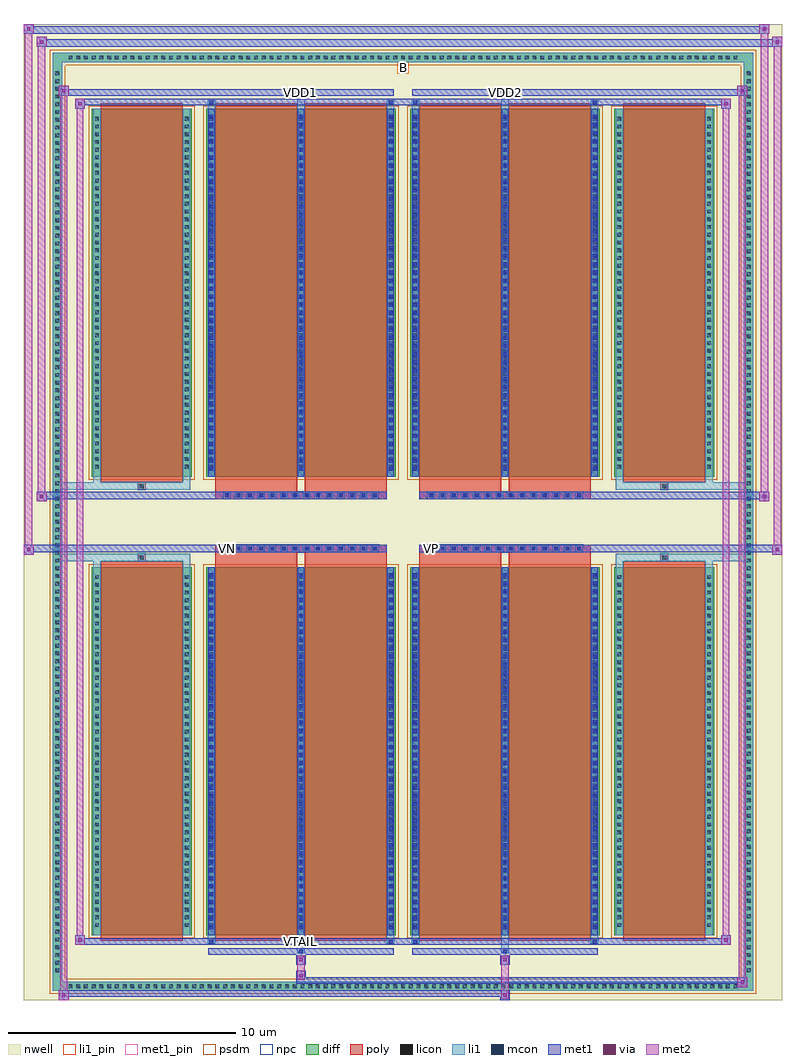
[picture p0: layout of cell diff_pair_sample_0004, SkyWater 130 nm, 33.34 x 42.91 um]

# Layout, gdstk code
import gdstk
lib = gdstk.Library(unit=1e-6, precision=5e-09)
def R(c, l, rs):  # rectangles x0, y0, x1, y1
    for r in rs: c.add(gdstk.rectangle(r[:2], r[2:], *l))
def A(c, l, x, y, w, h, nx, ny, dx, dy):  # array of equal rectangles
    R(c, l, [(x+i*dx, y+j*dy, x+i*dx+w, y+j*dy+h) for i in range(nx) for j in range(ny)])
def P(c, l, *ps):  # polygons
    for p in ps: c.add(gdstk.Polygon(p, *l))
nwell = (64, 20)
diff = (65, 20)
poly = (66, 20)
licon = (66, 44)
li1_pin = (67, 16)
li1 = (67, 20)
mcon = (67, 44)
met1_pin = (68, 16)
met1 = (68, 20)
via = (68, 44)
met2 = (69, 20)
psdm = (94, 20)
npc = (95, 20)

diff_pair_sample_0004 = lib.new_cell('diff_pair_sample_0004')
R(diff_pair_sample_0004, nwell, [(-16.67,-21.02,16.67,21.89), (-13.99,-19.21,-0.01,-0.805), (0.01,-19.21,13.99,-0.805), (-13.99,0.805,-0.01,19.21), (0.01,0.805,13.99,19.21)])
A(diff_pair_sample_0004, diff, -14.825, -20.62, 0.41, 0.41, 87, 2, 0.34, 40.83)
A(diff_pair_sample_0004, diff, -15.4, -19.925, 0.41, 0.41, 1, 117, 0, 0.34)
A(diff_pair_sample_0004, diff, 14.99, -19.925, 0.41, 0.41, 1, 117, 0, 0.34)
R(diff_pair_sample_0004, diff, [(-14.825,-20.62,14.825,-20.21), (-15.4,-19.925,-14.99,19.925), (14.99,-19.925,15.4,19.925), (-13.68,-18.165,-9.29,-1.985), (-8.65,-18.165,-0.32,-1.985), (0.32,-18.165,8.65,-1.985), (9.29,-18.165,13.68,-1.985), (-13.68,1.985,-9.29,18.165), (-8.65,1.985,-0.32,18.165), (0.32,1.985,8.65,18.165), (9.29,1.985,13.68,18.165), (-14.825,20.21,14.825,20.62)])
P(diff_pair_sample_0004, diff, [(15.4,20.62),(-15.4,20.62),(-15.4,-20.21),(-14.99,-20.21),(-14.99,20.21),(14.99,20.21),(14.99,-20.21),(-14.99,-20.21),(-15.4,-20.21),(-15.4,-20.62),(15.4,-20.62)])
A(diff_pair_sample_0004, poly, -7.9, -1.335, 0.33, 0.33, 14, 2, 0.5, 2.34)
A(diff_pair_sample_0004, poly, 1.07, -1.335, 0.33, 0.33, 14, 2, 0.5, 2.34)
R(diff_pair_sample_0004, poly, [(-13.29,-18.415,-9.68,-1.735), (-8.26,-18.415,-4.65,-1.735), (-4.32,-18.415,-0.71,-1.735), (0.71,-18.415,4.32,-1.735), (4.65,-18.415,8.26,-1.735), (9.68,-18.415,13.29,-1.735), (-11.65,-1.735,-11.32,-1.405), (-11.65,-1.735,-11.32,-1.405), (-8.26,-1.735,-4.65,-1.335), (-4.32,-1.735,-0.71,-1.335), (0.71,-1.735,4.32,-1.335), (4.65,-1.735,8.26,-1.335), (11.32,-1.735,11.65,-1.405), (11.32,-1.735,11.65,-1.405), (-8.26,-1.335,-0.71,-1.005), (0.71,-1.335,8.26,-1.005), (-8.26,1.005,-0.71,1.335), (0.71,1.005,8.26,1.335), (-8.26,1.335,-4.65,1.735), (-4.32,1.335,-0.71,1.735), (0.71,1.335,4.32,1.735), (4.65,1.335,8.26,1.735), (-11.65,1.405,-11.32,1.735), (-11.65,1.405,-11.32,1.735), (11.32,1.405,11.65,1.735), (11.32,1.405,11.65,1.735), (-13.29,1.735,-9.68,18.415), (-8.26,1.735,-4.65,18.415), (-4.32,1.735,-0.71,18.415), (0.71,1.735,4.32,18.415), (4.65,1.735,8.26,18.415), (9.68,1.735,13.29,18.415)])
A(diff_pair_sample_0004, licon, -14.705, -20.5, 0.17, 0.17, 87, 2, 0.34, 40.83)
A(diff_pair_sample_0004, licon, -15.28, -19.805, 0.17, 0.17, 1, 117, 0, 0.34)
A(diff_pair_sample_0004, licon, 15.11, -19.805, 0.17, 0.17, 1, 117, 0, 0.34)
A(diff_pair_sample_0004, licon, -13.54, -17.81, 0.17, 0.17, 1, 46, 0, 0.34)
A(diff_pair_sample_0004, licon, -9.6, -17.81, 0.17, 0.17, 1, 46, 0, 0.34)
A(diff_pair_sample_0004, licon, -8.51, -17.81, 0.17, 0.17, 3, 46, 3.94, 0.34)
A(diff_pair_sample_0004, licon, 0.46, -17.81, 0.17, 0.17, 3, 46, 3.94, 0.34)
A(diff_pair_sample_0004, licon, 9.43, -17.81, 0.17, 0.17, 1, 46, 0, 0.34)
A(diff_pair_sample_0004, licon, 13.37, -17.81, 0.17, 0.17, 1, 46, 0, 0.34)
A(diff_pair_sample_0004, licon, -7.82, -1.255, 0.17, 0.17, 14, 2, 0.5, 2.34)
A(diff_pair_sample_0004, licon, 1.15, -1.255, 0.17, 0.17, 14, 2, 0.5, 2.34)
A(diff_pair_sample_0004, licon, -13.54, 2.34, 0.17, 0.17, 1, 46, 0, 0.34)
A(diff_pair_sample_0004, licon, -9.6, 2.34, 0.17, 0.17, 1, 46, 0, 0.34)
A(diff_pair_sample_0004, licon, -8.51, 2.34, 0.17, 0.17, 3, 46, 3.94, 0.34)
A(diff_pair_sample_0004, licon, 0.46, 2.34, 0.17, 0.17, 3, 46, 3.94, 0.34)
A(diff_pair_sample_0004, licon, 9.43, 2.34, 0.17, 0.17, 1, 46, 0, 0.34)
A(diff_pair_sample_0004, licon, 13.37, 2.34, 0.17, 0.17, 1, 46, 0, 0.34)
R(diff_pair_sample_0004, licon, [(-11.57,-1.655,-11.4,-1.485), (11.4,-1.655,11.57,-1.485), (-11.57,1.485,-11.4,1.655), (11.4,1.485,11.57,1.655)])
R(diff_pair_sample_0004, li1_pin, [(-0.25,19.71,0.25,20.21)])
A(diff_pair_sample_0004, li1, -14.785, -20.58, 0.33, 0.33, 87, 2, 0.34, 40.83)
A(diff_pair_sample_0004, li1, -15.36, -19.885, 0.33, 0.33, 1, 117, 0, 0.34)
A(diff_pair_sample_0004, li1, 15.03, -19.885, 0.33, 0.33, 1, 117, 0, 0.34)
A(diff_pair_sample_0004, li1, -8.59, -18.165, 0.33, 16.18, 3, 2, 3.94, 20.15)
A(diff_pair_sample_0004, li1, 0.38, -18.165, 0.33, 16.18, 3, 2, 3.94, 20.15)
A(diff_pair_sample_0004, li1, -8.51, -17.9, 0.17, 0.17, 3, 44, 3.94, 0.36)
A(diff_pair_sample_0004, li1, -8.51, -17.9, 0.17, 15.65, 3, 2, 3.94, 20.15)
A(diff_pair_sample_0004, li1, 0.46, -17.9, 0.17, 0.17, 3, 44, 3.94, 0.36)
A(diff_pair_sample_0004, li1, 0.46, -17.9, 0.17, 15.65, 3, 2, 3.94, 20.15)
A(diff_pair_sample_0004, li1, -13.62, -17.89, 0.33, 0.33, 1, 46, 0, 0.34)
A(diff_pair_sample_0004, li1, -9.68, -17.89, 0.33, 0.33, 1, 46, 0, 0.34)
A(diff_pair_sample_0004, li1, -8.59, -17.89, 0.33, 0.33, 3, 46, 3.94, 0.34)
A(diff_pair_sample_0004, li1, 0.38, -17.89, 0.33, 0.33, 3, 46, 3.94, 0.34)
A(diff_pair_sample_0004, li1, 9.35, -17.89, 0.33, 0.33, 1, 46, 0, 0.34)
A(diff_pair_sample_0004, li1, 13.29, -17.89, 0.33, 0.33, 1, 46, 0, 0.34)
A(diff_pair_sample_0004, li1, -7.9, -1.335, 0.33, 0.33, 14, 2, 0.5, 2.34)
A(diff_pair_sample_0004, li1, 1.07, -1.335, 0.33, 0.33, 14, 2, 0.5, 2.34)
A(diff_pair_sample_0004, li1, -8.51, 2.25, 0.17, 0.17, 3, 44, 3.94, 0.36)
A(diff_pair_sample_0004, li1, 0.46, 2.25, 0.17, 0.17, 3, 44, 3.94, 0.36)
A(diff_pair_sample_0004, li1, -13.62, 2.26, 0.33, 0.33, 1, 46, 0, 0.34)
A(diff_pair_sample_0004, li1, -9.68, 2.26, 0.33, 0.33, 1, 46, 0, 0.34)
A(diff_pair_sample_0004, li1, -8.59, 2.26, 0.33, 0.33, 3, 46, 3.94, 0.34)
A(diff_pair_sample_0004, li1, 0.38, 2.26, 0.33, 0.33, 3, 46, 3.94, 0.34)
A(diff_pair_sample_0004, li1, 9.35, 2.26, 0.33, 0.33, 1, 46, 0, 0.34)
A(diff_pair_sample_0004, li1, 13.29, 2.26, 0.33, 0.33, 1, 46, 0, 0.34)
R(diff_pair_sample_0004, li1, [(-15.4,-20.62,-14.99,-20.21), (-15.4,-20.62,-14.99,-20.21), (-14.99,-20.62,14.99,-20.21), (14.99,-20.62,15.4,-20.21), (14.99,-20.62,15.4,-20.21), (-15.4,-20.21,-14.99,20.21), (14.99,-20.21,15.4,20.21), (-4.65,-18.97,-4.32,-18.165), (-4.57,-18.97,-4.4,-18.8), (4.32,-18.97,4.65,-18.165), (4.4,-18.97,4.57,-18.8), (-8.59,-18.54,-8.26,-18.165), (-8.51,-18.54,-8.34,-18.37), (-0.71,-18.54,-0.38,-18.165), (-0.63,-18.54,-0.46,-18.37), (0.38,-18.54,0.71,-18.165), (0.46,-18.54,0.63,-18.37), (8.26,-18.54,8.59,-18.165), (8.34,-18.54,8.51,-18.37), (-13.62,-18.165,-13.29,-1.985), (-9.68,-18.165,-9.35,-1.985), (9.35,-18.165,9.68,-1.985), (13.29,-18.165,13.62,-1.985), (-13.62,-1.985,-13.29,-1.405), (-9.68,-1.985,-9.35,-1.405), (9.35,-1.985,9.68,-1.405), (13.29,-1.985,13.62,-1.405), (-15.4,-1.735,-11.65,-1.405), (-13.62,-1.735,-11.65,-1.405), (-11.65,-1.735,-11.32,-1.405), (-11.32,-1.735,-9.35,-1.405), (9.35,-1.735,11.32,-1.405), (11.32,-1.735,11.65,-1.405), (11.32,-1.735,15.4,-1.405), (11.65,-1.735,13.62,-1.405), (-15.4,1.405,-11.65,1.735), (-13.62,1.405,-11.65,1.735), (-13.62,1.405,-13.29,1.985), (-11.65,1.405,-11.32,1.735), (-11.32,1.405,-9.35,1.735), (-9.68,1.405,-9.35,1.985), (9.35,1.405,11.32,1.735), (9.35,1.405,9.68,1.985), (11.32,1.405,11.65,1.735), (11.32,1.405,15.4,1.735), (11.65,1.405,13.62,1.735), (13.29,1.405,13.62,1.985), (-13.62,1.985,-13.29,18.165), (-9.68,1.985,-9.35,18.165), (9.35,1.985,9.68,18.165), (13.29,1.985,13.62,18.165), (-8.59,18.165,-8.26,18.54), (-4.65,18.165,-4.32,18.97), (-0.71,18.165,-0.38,18.54), (0.38,18.165,0.71,18.54), (4.32,18.165,4.65,18.97), (8.26,18.165,8.59,18.54), (-8.51,18.37,-8.34,18.54), (-0.63,18.37,-0.46,18.54), (0.46,18.37,0.63,18.54), (8.34,18.37,8.51,18.54), (-4.57,18.8,-4.4,18.97), (4.4,18.8,4.57,18.97), (-15.4,20.21,-14.99,20.62), (-15.4,20.21,-14.99,20.62), (-14.99,20.21,14.99,20.62), (14.99,20.21,15.4,20.62), (14.99,20.21,15.4,20.62)])
A(diff_pair_sample_0004, mcon, -8.51, -17.9, 0.17, 0.17, 3, 44, 3.94, 0.36)
A(diff_pair_sample_0004, mcon, 0.46, -17.9, 0.17, 0.17, 3, 44, 3.94, 0.36)
A(diff_pair_sample_0004, mcon, -7.82, -1.255, 0.17, 0.17, 14, 2, 0.5, 2.34)
A(diff_pair_sample_0004, mcon, 1.15, -1.255, 0.17, 0.17, 14, 2, 0.5, 2.34)
A(diff_pair_sample_0004, mcon, -8.51, 2.25, 0.17, 0.17, 3, 44, 3.94, 0.36)
A(diff_pair_sample_0004, mcon, 0.46, 2.25, 0.17, 0.17, 3, 44, 3.94, 0.36)
R(diff_pair_sample_0004, mcon, [(-4.57,-18.97,-4.4,-18.8), (4.4,-18.97,4.57,-18.8), (-8.51,-18.54,-8.34,-18.37), (-0.63,-18.54,-0.46,-18.37), (0.46,-18.54,0.63,-18.37), (8.34,-18.54,8.51,-18.37), (-8.51,18.37,-8.34,18.54), (-0.63,18.37,-0.46,18.54), (0.46,18.37,0.63,18.54), (8.34,18.37,8.51,18.54), (-4.57,18.8,-4.4,18.97), (4.4,18.8,4.57,18.97)])
R(diff_pair_sample_0004, met1_pin, [(-4.62,-18.58,-4.35,-18.31), (-7.87,-1.295,-7.6,-1.025), (1.1,-1.295,1.37,-1.025), (-4.62,18.76,-4.35,19.03), (4.35,18.76,4.62,19.03)])
A(diff_pair_sample_0004, met1, -8.57, -18.165, 0.29, 16.18, 3, 2, 3.94, 20.15)
A(diff_pair_sample_0004, met1, 0.4, -18.165, 0.29, 16.18, 3, 2, 3.94, 20.15)
A(diff_pair_sample_0004, met1, -8.57, -17.96, 0.29, 0.29, 3, 44, 3.94, 0.36)
A(diff_pair_sample_0004, met1, 0.4, -17.96, 0.29, 0.29, 3, 44, 3.94, 0.36)
A(diff_pair_sample_0004, met1, -7.88, -1.315, 0.29, 0.29, 14, 2, 0.5, 2.34)
A(diff_pair_sample_0004, met1, 1.09, -1.315, 0.29, 0.29, 14, 2, 0.5, 2.34)
A(diff_pair_sample_0004, met1, -8.57, 2.19, 0.29, 0.29, 3, 44, 3.94, 0.36)
A(diff_pair_sample_0004, met1, 0.4, 2.19, 0.29, 0.29, 3, 44, 3.94, 0.36)
R(diff_pair_sample_0004, met1, [(-15.13,-21.02,-14.7,-20.59), (4.27,-21.02,4.7,-20.59), (-15.13,-20.88,4.7,-20.59), (14.7,-20.45,15.13,-20.02), (-4.7,-20.31,15.13,-20.02), (-4.7,-20.17,-4.27,-19.74), (-4.7,-19.46,-4.27,-19.03), (4.27,-19.46,4.7,-19.03), (-8.57,-19.03,-0.4,-18.74), (-4.63,-19.03,-4.34,-18.74), (0.4,-19.03,8.57,-18.74), (4.34,-19.03,4.63,-18.74), (-14.42,-18.6,-13.99,-18.17), (-14.42,-18.6,-8.57,-18.31), (-8.57,-18.6,-8.28,-18.31), (-8.57,-18.6,-0.4,-18.31), (-0.69,-18.6,-0.4,-18.31), (-0.4,-18.6,0.4,-18.31), (0.4,-18.6,0.69,-18.31), (0.4,-18.6,8.57,-18.31), (8.28,-18.6,8.57,-18.31), (8.57,-18.6,14.42,-18.31), (13.99,-18.6,14.42,-18.17), (-16.67,-1.435,-16.24,-1.005), (16.24,-1.435,16.67,-1.005), (-16.67,-1.335,-0.71,-1.005), (-8.26,-1.335,-0.71,-1.005), (0.71,-1.335,8.26,-1.005), (0.71,-1.335,16.67,-1.005), (-16.1,0.905,-15.67,1.335), (15.67,0.905,16.1,1.335), (-16.1,1.005,-8.26,1.335), (-8.26,1.005,-0.71,1.335), (0.71,1.005,8.26,1.335), (8.26,1.005,16.1,1.335), (-14.42,18.17,-13.99,18.6), (13.99,18.17,14.42,18.6), (-14.42,18.31,-8.57,18.6), (-8.57,18.31,-8.28,18.6), (-8.57,18.31,-0.4,18.6), (-0.69,18.31,-0.4,18.6), (-0.4,18.31,0.4,18.6), (0.4,18.31,0.69,18.6), (0.4,18.31,8.57,18.6), (8.28,18.31,8.57,18.6), (8.57,18.31,14.42,18.6), (-15.13,18.74,-14.7,19.17), (-15.13,18.74,-8.57,19.03), (-8.57,18.74,-0.4,19.03), (-4.63,18.74,-4.34,19.03), (0.4,18.74,8.57,19.03), (4.34,18.74,4.63,19.03), (8.57,18.74,15.13,19.03), (14.7,18.74,15.13,19.17), (-16.1,20.89,-15.67,21.32), (-16.1,20.89,-13.99,21.22), (-13.99,20.89,13.99,21.22), (13.99,20.89,16.67,21.22), (16.24,20.89,16.67,21.32), (-16.67,21.46,-16.24,21.89), (-16.67,21.46,-13.99,21.79), (-13.99,21.46,13.99,21.79), (13.99,21.46,16.1,21.79), (15.67,21.46,16.1,21.89)])
R(diff_pair_sample_0004, via, [(-14.99,-20.88,-14.84,-20.73), (4.41,-20.88,4.56,-20.73), (14.84,-20.31,14.99,-20.16), (-4.56,-20.03,-4.41,-19.88), (-4.56,-19.32,-4.41,-19.17), (4.41,-19.32,4.56,-19.17), (-14.28,-18.46,-14.13,-18.31), (14.13,-18.46,14.28,-18.31), (-16.53,-1.295,-16.38,-1.145), (16.38,-1.295,16.53,-1.145), (-15.96,1.045,-15.81,1.195), (15.81,1.045,15.96,1.195), (-14.28,18.31,-14.13,18.46), (14.13,18.31,14.28,18.46), (-14.99,18.88,-14.84,19.03), (14.84,18.88,14.99,19.03), (-15.96,21.03,-15.81,21.18), (16.38,21.03,16.53,21.18), (-16.53,21.6,-16.38,21.75), (15.81,21.6,15.96,21.75)])
R(diff_pair_sample_0004, met2, [(-15.13,-21.02,-14.7,-20.59), (-15.06,-21.02,-14.77,19.17), (-14.77,-21.02,-14.7,-20.59), (-15.08,-20.97,-14.75,-20.64), (4.32,-20.97,4.65,-20.64), (4.32,-20.64,4.65,-19.41), (14.7,-20.45,15.13,-20.02), (14.77,-20.45,15.06,19.17), (15.06,-20.45,15.13,-20.02), (14.75,-20.4,15.08,-20.07), (-4.65,-20.12,-4.32,-19.79), (-4.65,-19.79,-4.32,-19.41), (-4.65,-19.41,-4.32,-19.08), (4.32,-19.41,4.65,-19.08), (-14.42,-18.6,-13.99,-18.17), (-14.35,-18.6,-14.06,18.6), (-14.06,-18.6,-13.99,-18.17), (13.99,-18.6,14.42,-18.17), (14.06,-18.6,14.35,18.6), (14.35,-18.6,14.42,-18.17), (-14.37,-18.55,-14.04,-18.22), (14.04,-18.55,14.37,-18.22), (-16.67,-1.435,-16.24,-1.005), (-16.62,-1.435,-16.29,21.89), (-16.29,-1.435,-16.24,-1.005), (16.24,-1.435,16.67,-1.005), (16.29,-1.435,16.62,21.32), (16.62,-1.435,16.67,-1.005), (-16.62,-1.385,-16.29,-1.055), (16.29,-1.385,16.62,-1.055), (-16.1,0.905,-15.67,1.335), (-16.05,0.905,-15.72,21.32), (-15.72,0.905,-15.67,1.335), (15.67,0.905,16.1,1.335), (15.72,0.905,16.05,21.89), (16.05,0.905,16.1,1.335), (-16.05,0.955,-15.72,1.285), (15.72,0.955,16.05,1.285), (-14.42,18.17,-13.99,18.6), (-14.06,18.17,-13.99,18.6), (13.99,18.17,14.42,18.6), (14.35,18.17,14.42,18.6), (-14.37,18.22,-14.04,18.55), (14.04,18.22,14.37,18.55), (-15.13,18.74,-14.7,19.17), (-14.77,18.74,-14.7,19.17), (14.7,18.74,15.13,19.17), (15.06,18.74,15.13,19.17), (-15.08,18.79,-14.75,19.12), (14.75,18.79,15.08,19.12), (-16.1,20.89,-15.67,21.32), (-15.72,20.89,-15.67,21.32), (16.24,20.89,16.67,21.32), (16.62,20.89,16.67,21.32), (-16.05,20.94,-15.72,21.27), (16.29,20.94,16.62,21.27), (-16.67,21.46,-16.24,21.89), (-16.29,21.46,-16.24,21.89), (15.67,21.46,16.1,21.89), (16.05,21.46,16.1,21.89), (-16.62,21.51,-16.29,21.84), (15.72,21.51,16.05,21.84)])
R(diff_pair_sample_0004, psdm, [(-13.81,-18.295,-9.16,-1.855), (-8.78,-18.295,-0.19,-1.855), (0.19,-18.295,8.78,-1.855), (9.16,-18.295,13.81,-1.855), (-13.81,1.855,-9.16,18.295), (-8.78,1.855,-0.19,18.295), (0.19,1.855,8.78,18.295), (9.16,1.855,13.81,18.295)])
P(diff_pair_sample_0004, psdm, [(15.53,20.75),(-15.53,20.75),(-15.53,-20.08),(-14.86,-20.08),(-14.86,20.08),(14.86,20.08),(14.86,-20.08),(-14.86,-20.08),(-15.53,-20.08),(-15.53,-20.75),(15.53,-20.75)])
A(diff_pair_sample_0004, npc, -7.92, -1.355, 0.37, 0.37, 14, 2, 0.5, 2.34)
A(diff_pair_sample_0004, npc, 1.05, -1.355, 0.37, 0.37, 14, 2, 0.5, 2.34)
R(diff_pair_sample_0004, npc, [(-11.67,-1.755,-11.3,-1.385), (11.3,-1.755,11.67,-1.385), (-7.92,-1.355,-7.05,-0.985), (-7.92,-1.355,-7.05,-0.985), (-7.42,-1.355,-6.55,-0.985), (-7.42,-1.355,-6.55,-0.985), (-6.92,-1.355,-6.05,-0.985), (-6.92,-1.355,-6.05,-0.985), (-6.42,-1.355,-5.55,-0.985), (-6.42,-1.355,-5.55,-0.985), (-5.92,-1.355,-5.05,-0.985), (-5.92,-1.355,-5.05,-0.985), (-5.42,-1.355,-4.55,-0.985), (-5.42,-1.355,-4.55,-0.985), (-4.92,-1.355,-4.05,-0.985), (-4.92,-1.355,-4.05,-0.985), (-4.42,-1.355,-3.55,-0.985), (-4.42,-1.355,-3.55,-0.985), (-3.92,-1.355,-3.05,-0.985), (-3.92,-1.355,-3.05,-0.985), (-3.42,-1.355,-2.55,-0.985), (-3.42,-1.355,-2.55,-0.985), (-2.92,-1.355,-2.05,-0.985), (-2.92,-1.355,-2.05,-0.985), (-2.42,-1.355,-1.55,-0.985), (-2.42,-1.355,-1.55,-0.985), (-1.92,-1.355,-1.05,-0.985), (-1.92,-1.355,-1.05,-0.985), (1.05,-1.355,1.92,-0.985), (1.05,-1.355,1.92,-0.985), (1.55,-1.355,2.42,-0.985), (1.55,-1.355,2.42,-0.985), (2.05,-1.355,2.92,-0.985), (2.05,-1.355,2.92,-0.985), (2.55,-1.355,3.42,-0.985), (2.55,-1.355,3.42,-0.985), (3.05,-1.355,3.92,-0.985), (3.05,-1.355,3.92,-0.985), (3.55,-1.355,4.42,-0.985), (3.55,-1.355,4.42,-0.985), (4.05,-1.355,4.92,-0.985), (4.05,-1.355,4.92,-0.985), (4.55,-1.355,5.42,-0.985), (4.55,-1.355,5.42,-0.985), (5.05,-1.355,5.92,-0.985), (5.05,-1.355,5.92,-0.985), (5.55,-1.355,6.42,-0.985), (5.55,-1.355,6.42,-0.985), (6.05,-1.355,6.92,-0.985), (6.05,-1.355,6.92,-0.985), (6.55,-1.355,7.42,-0.985), (6.55,-1.355,7.42,-0.985), (7.05,-1.355,7.92,-0.985), (7.05,-1.355,7.92,-0.985), (-7.92,0.985,-7.05,1.355), (-7.92,0.985,-7.05,1.355), (-7.42,0.985,-6.55,1.355), (-7.42,0.985,-6.55,1.355), (-6.92,0.985,-6.05,1.355), (-6.92,0.985,-6.05,1.355), (-6.42,0.985,-5.55,1.355), (-6.42,0.985,-5.55,1.355), (-5.92,0.985,-5.05,1.355), (-5.92,0.985,-5.05,1.355), (-5.42,0.985,-4.55,1.355), (-5.42,0.985,-4.55,1.355), (-4.92,0.985,-4.05,1.355), (-4.92,0.985,-4.05,1.355), (-4.42,0.985,-3.55,1.355), (-4.42,0.985,-3.55,1.355), (-3.92,0.985,-3.05,1.355), (-3.92,0.985,-3.05,1.355), (-3.42,0.985,-2.55,1.355), (-3.42,0.985,-2.55,1.355), (-2.92,0.985,-2.05,1.355), (-2.92,0.985,-2.05,1.355), (-2.42,0.985,-1.55,1.355), (-2.42,0.985,-1.55,1.355), (-1.92,0.985,-1.05,1.355), (-1.92,0.985,-1.05,1.355), (1.05,0.985,1.92,1.355), (1.05,0.985,1.92,1.355), (1.55,0.985,2.42,1.355), (1.55,0.985,2.42,1.355), (2.05,0.985,2.92,1.355), (2.05,0.985,2.92,1.355), (2.55,0.985,3.42,1.355), (2.55,0.985,3.42,1.355), (3.05,0.985,3.92,1.355), (3.05,0.985,3.92,1.355), (3.55,0.985,4.42,1.355), (3.55,0.985,4.42,1.355), (4.05,0.985,4.92,1.355), (4.05,0.985,4.92,1.355), (4.55,0.985,5.42,1.355), (4.55,0.985,5.42,1.355), (5.05,0.985,5.92,1.355), (5.05,0.985,5.92,1.355), (5.55,0.985,6.42,1.355), (5.55,0.985,6.42,1.355), (6.05,0.985,6.92,1.355), (6.05,0.985,6.92,1.355), (6.55,0.985,7.42,1.355), (6.55,0.985,7.42,1.355), (7.05,0.985,7.92,1.355), (7.05,0.985,7.92,1.355), (-11.67,1.385,-11.3,1.755), (11.3,1.385,11.67,1.755)])
diff_pair_sample_0004.add(gdstk.Label('VTAIL', (-4.485,-18.445), layer=68, texttype=5))
diff_pair_sample_0004.add(gdstk.Label('VN', (-7.735,-1.16), layer=68, texttype=5))
diff_pair_sample_0004.add(gdstk.Label('VP', (1.235,-1.16), layer=68, texttype=5))
diff_pair_sample_0004.add(gdstk.Label('B', (0,19.96), layer=67, texttype=5))
diff_pair_sample_0004.add(gdstk.Label('VDD2', (4.485,18.895), layer=68, texttype=5))
diff_pair_sample_0004.add(gdstk.Label('VDD1', (-4.485,18.895), layer=68, texttype=5))

lib.write_gds('diff_pair_sample_0004.gds')
